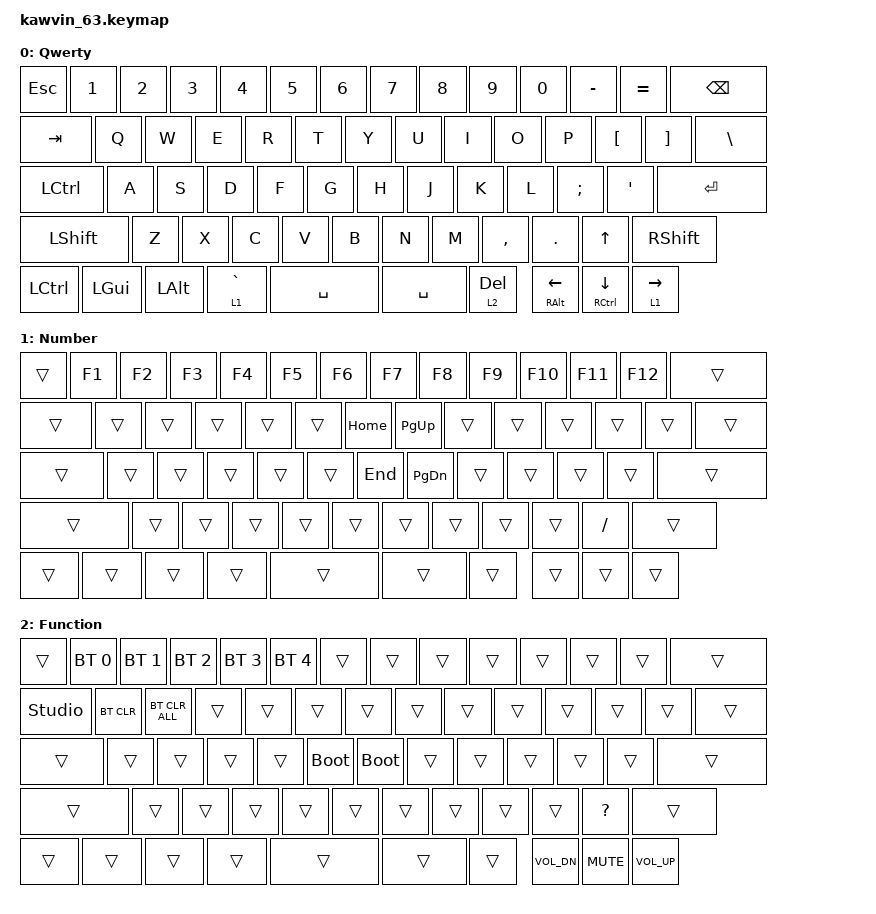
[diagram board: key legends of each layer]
/*
 * Copyright (c) 2023 The ZMK Contributors
 *
 * SPDX-License-Identifier: MIT
 */

#include <behaviors/mouse_keys.dtsi>
#include <dt-bindings/zmk/mouse.h>
#include <behaviors.dtsi>
#include <dt-bindings/zmk/bt.h>
#include <dt-bindings/zmk/keys.h>

#define ZMK_MOUSE_DEFAULT_MOVE_VAL 1200  // 600
#define ZMK_MOUSE_DEFAULT_SCRL_VAL 20    // 10
#define U_MS_U &mmv MOVE_UP
#define U_MS_D &mmv MOVE_DOWN
#define U_MS_L &mmv MOVE_LEFT
#define U_MS_R &mmv MOVE_RIGHT
#define ZMK_MOUSE_DEFAULT_MOVE_VAL 1200  //  600
#define ZMK_MOUSE_DEFAULT_SCRL_VAL 20    // 10

/ {
    combos { compatible = "zmk,combos"; };

    keymap {
        compatible = "zmk,keymap";

        qwerty_layer {
            //  ---------------------------------------------------------------------------------
            //  |GRAVE |N1  |N2  |N3        |N4          |N5  |N6  |N7          |N8        |N9  |N0  |MINUS |EQUAL|BSPC|
            //  |TAB   |Q   |W   |E         |R           |T   |Y   |U           |I         |O   |P   |LBKT  |RBKT |BSLH|
            //  |CAPS  |A   |S   |D         |&ltq 2 F    |G   |H   |J           |K         |L   |SEMI|SQT   |ENTER|    |
            //  |LSHIFT|Z   |X   |C         |&ltq 3 V    |B   |N   |M           |COMMA     |DOT |FSLH|RSHIFT|     |    |
            //  |LCTRL |LGUI|LALT|&ltq 4 DEL|&ltq 1 SPACE|    |    |&ltq 1 SPACE|&ltq 5 INS|RGUI|RALT|RCTRL |     |    |

            bindings = <
&kp ESC     &kp N1    &kp N2    &kp N3       &kp N4     &kp N5  &kp N6     &kp N7     &kp N8         &kp N9          &kp N0       &kp MINUS   &kp EQUAL  &kp BSPC
&kp TAB     &kp Q     &kp W     &kp E        &kp R      &kp T   &kp Y      &kp U      &kp I          &kp O           &kp P        &kp LBKT    &kp RBKT   &kp BSLH
&kp LCTRL   &kp A     &kp S     &kp D        &kp F      &kp G   &kp H      &kp J      &kp K          &kp L           &kp SEMI     &kp SQT     &kp ENTER
&kp LSHIFT  &kp Z     &kp X     &kp C        &kp V      &kp B   &kp N      &kp M      &kp COMMA      &kp DOT         &kp UP       &kp RSHIFT
&kp LCTRL   &kp LGUI  &kp LALT  &lt 1 GRAVE  &kp SPACE          &kp SPACE  &lt 2 DEL  &mt RALT LEFT  &mt RCTRL DOWN  &lt 1 RIGHT
            >;

            label = "Qwerty";
        };

        number_layer {
            //  ---------------------------------------------------------------------------------
            //  |N0  |     |            |           |     |     |                        |     |    |    |    |    |    |    |
            //  |N0  |N6   |N7          |N8         |N9   |DOT  |&mt KP_SLASH KP_MULTIPLY|N4   |N5  |N6  |    |    |    |    |
            //  |    |SLASH|MULTIPLY    |MINUS      |PLUS |ENTER|PLUS                    |1    |2   |3   |    |    |    |    |
            //  |    |HOME |END         |PG_UP      |PG_DN|BSPC |MINUS                   |N0   |DOT |DOT |    |    |    |    |
            //  |    |     |LC(LS(HOME))|LC(LS(END))|     |     |                        |ENTER|    |    |    |    |    |    |

            bindings = <
&trans  &kp F1  &kp F2  &kp F3  &kp F4  &kp F5  &kp F6    &kp F7     &kp F8  &kp F9  &kp F10   &kp F11  &kp F12  &trans
&trans  &trans  &trans  &trans  &trans  &trans  &kp HOME  &kp PG_UP  &trans  &trans  &trans    &trans   &trans   &trans
&trans  &trans  &trans  &trans  &trans  &trans  &kp END   &kp PG_DN  &trans  &trans  &trans    &trans   &trans
&trans  &trans  &trans  &trans  &trans  &trans  &trans    &trans     &trans  &trans  &kp FSLH  &trans
&trans  &trans  &trans  &trans  &trans          &trans    &trans     &trans  &trans  &trans
            >;

            label = "Number";
        };

        function_layer {
            //  ---------------------------------------------------------------------------------
            //  |    |F1  |F2       |F3   |F4  |F5  |     |     |    |          |               |    |    |    |
            //  |    |F6  |&mt F7 UP|F8   |F9  |F10 |     |HOME |UP  |END       |               |    |    |    |
            //  |    |LEFT|DOWN     |RIGHT|    |F11 |LEFT |RIGHT|DOWN|&end_enter|&end_semi_enter|    |    |    |
            //  |    |    |         |     |    |F12 |PG_DN|PG_UP|    |          |               |    |    |    |
            //  |    |    |         |     |    |    |     |     |    |          |               |    |    |    |

            bindings = <
&trans          &bt BT_SEL 0  &bt BT_SEL 1    &bt BT_SEL 2  &bt BT_SEL 3  &bt BT_SEL 4  &trans       &trans  &trans        &trans      &trans        &trans  &trans  &trans
&studio_unlock  &bt BT_CLR    &bt BT_CLR_ALL  &trans        &trans        &trans        &trans       &trans  &trans        &trans      &trans        &trans  &trans  &trans
&trans          &trans        &trans          &trans        &trans        &bootloader   &bootloader  &trans  &trans        &trans      &trans        &trans  &trans
&trans          &trans        &trans          &trans        &trans        &trans        &trans       &trans  &trans        &trans      &kp QUESTION  &trans
&trans          &trans        &trans          &trans        &trans                      &trans       &trans  &kp C_VOL_DN  &kp C_MUTE  &kp C_VOL_UP
            >;

            label = "Function";
        };
    };
};
